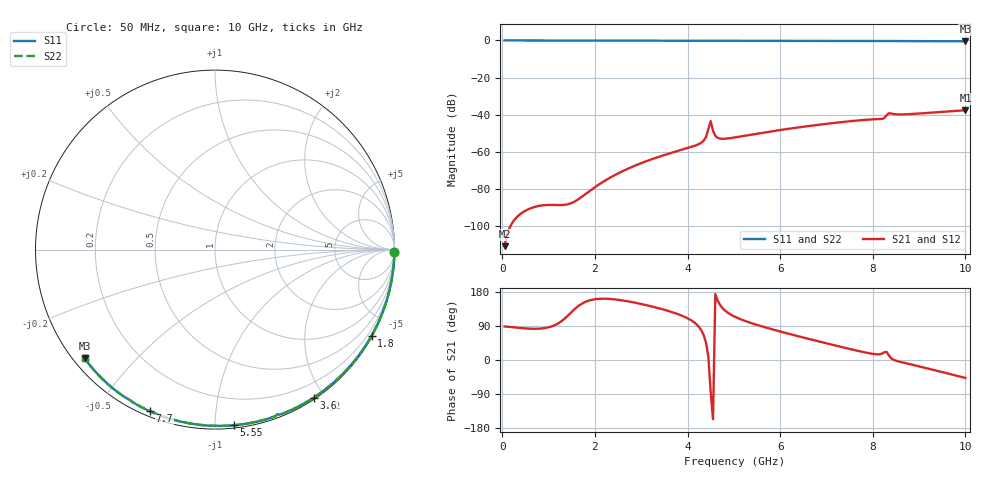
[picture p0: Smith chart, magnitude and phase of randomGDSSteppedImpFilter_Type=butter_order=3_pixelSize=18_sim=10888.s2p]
! freq	dB(S11)	phase(S11)	dB(S12)	phase(S12)
!  dB(S21)	phase(S21)	dB(S22)	phase(S22)
!S-par simulation data
#  GHz  S  DB  R 50
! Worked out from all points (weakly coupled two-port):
!   200 points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, 50 MHz to 10 GHz, reference 50 ohm
!   highest |S21| = -37.59 dB at 10 GHz (marker M1); lowest = -110.8 dB at 50 MHz (marker M2)
!   lowest |S11| = -0.5 dB at 10 GHz (marker M3), VSWR 36.12, Z = 1.57 - j18.1 ohm
!   |S11| at or under -10 dB: nowhere
!   |S22| runs from -0.5 to 0.0 dB; largest |S21 - S12| = 0
!   S11 on the Smith chart (normalised r, x): 50 MHz: open; 1.8 GHz: 0.03, -3.89; 3.6 GHz: 0.02, -1.87; 5.55 GHz: 0.02, -1.11; 7.7 GHz: 0.02, -0.68; 10 GHz: 0.03, -0.36
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0.05  -0.00 -0.8  -110.83 88.4  -110.83 88.4  -0.00 -0.8
1.75  -0.04 -28.0  -83.61 150.7  -83.61 150.7  -0.04 -28.0
1.8  -0.04 -28.8  -82.68 153.6  -82.68 153.6  -0.04 -28.8
1.95  -0.04 -31.2  -79.94 159.3  -79.94 159.3  -0.04 -31.2
2.55  -0.05 -40.5  -71.00 158.0  -71.00 158.0  -0.05 -40.5
3.4  -0.07 -53.3  -62.53 135.9  -62.53 135.9  -0.07 -53.3
3.6  -0.08 -56.3  -60.94 128.8  -60.94 128.8  -0.08 -56.3
4.3  -0.10 -66.5  -55.03 77.9  -55.03 77.9  -0.10 -66.5
4.4  -0.10 -68.0  -51.94 45.4  -51.94 45.4  -0.10 -68.0
4.5  -0.17 -69.2  -43.43 -84.8  -43.43 -84.8  -0.17 -69.2
4.55  -0.12 -69.8  -48.63 -156.6  -48.63 -156.6  -0.12 -69.8
4.6  -0.11 -70.6  -51.38 173.9  -51.38 173.9  -0.11 -70.6
4.65  -0.11 -71.3  -52.48 156.8  -52.48 156.8  -0.11 -71.3
4.8  -0.11 -73.5  -52.95 131.6  -52.95 131.6  -0.11 -73.5
5.05  -0.12 -77.0  -52.12 112.5  -52.12 112.5  -0.12 -77.0
5.55  -0.14 -83.9  -50.02 90.8  -50.02 90.8  -0.14 -83.9
6.7  -0.19 -99.1  -45.84 53.1  -45.84 53.1  -0.19 -99.1
7.7  -0.26 -111.9  -43.06 23.5  -43.06 23.5  -0.26 -111.9
8.2  -0.30 -118.2  -42.27 16.8  -42.27 16.8  -0.30 -118.2
8.35  -0.33 -119.9  -39.20 11.6  -39.20 11.6  -0.33 -119.9
8.7  -0.34 -124.2  -39.81 -8.1  -39.81 -8.1  -0.34 -124.2
10  -0.48 -140.2  -37.59 -47.4  -37.59 -47.4  -0.48 -140.2
